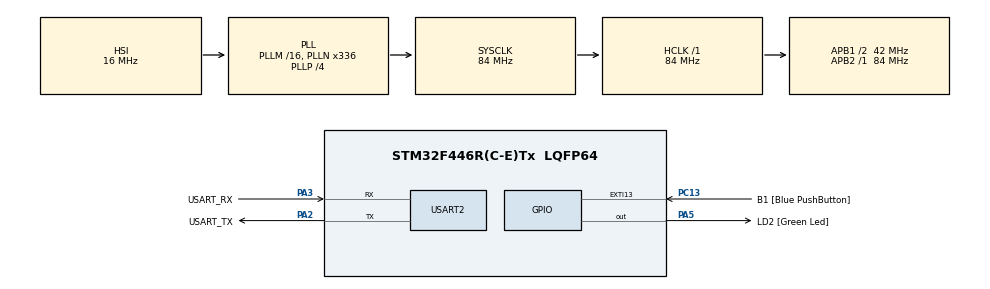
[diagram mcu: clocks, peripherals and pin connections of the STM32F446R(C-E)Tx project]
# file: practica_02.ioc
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Mcu.Family=STM32F4
Mcu.Name=STM32F446R(C-E)Tx
Mcu.Package=LQFP64
NVIC.PriorityGroup=NVIC_PRIORITYGROUP_0
PA13.GPIO_Label=TMS
PA13.Mode=Serial_Wire
PA13.Signal=SYS_JTMS-SWDIO
PA14.GPIO_Label=TCK
PA14.Mode=Serial_Wire
PA14.Signal=SYS_JTCK-SWCLK
PA2.GPIO_Label=USART_TX
PA2.Mode=Asynchronous
PA2.Signal=USART2_TX
PA3.GPIO_Label=USART_RX
PA3.Mode=Asynchronous
PA3.Signal=USART2_RX
PA5.GPIO_Label=LD2 [Green Led]
PA5.Signal=GPIO_Output
PB3.GPIO_Label=SWO
PB3.Signal=SYS_JTDO-SWO
PC13.GPIO_Label=B1 [Blue PushButton]
PC13.GPIO_ModeDefaultEXTI=GPIO_MODE_IT_FALLING
PC13.Signal=GPXTI13
PC14-OSC32_IN.Mode=LSE-External-Oscillator
PC14-OSC32_IN.Signal=RCC_OSC32_IN
PC15-OSC32_OUT.Mode=LSE-External-Oscillator
PC15-OSC32_OUT.Signal=RCC_OSC32_OUT
PH0-OSC_IN.Mode=HSE-External-Oscillator
PH0-OSC_IN.Signal=RCC_OSC_IN
PH1-OSC_OUT.Mode=HSE-External-Oscillator
PH1-OSC_OUT.Signal=RCC_OSC_OUT
ProjectManager.HeapSize=0x200
ProjectManager.StackSize=0x400
ProjectManager.TargetToolchain=STM32CubeIDE
RCC.48MHZClocksFreq_Value=84000000
RCC.AHBFreq_Value=84000000
RCC.APB1CLKDivider=RCC_HCLK_DIV2
RCC.APB1Freq_Value=42000000
RCC.APB1TimFreq_Value=84000000
RCC.APB2Freq_Value=84000000
RCC.APB2TimFreq_Value=84000000
RCC.CortexFreq_Value=84000000
RCC.FLatency-AdvancedSettings=FLASH_LATENCY_2
RCC.HCLKFreq_Value=84000000
RCC.HSE_VALUE=8000000
RCC.HSI_VALUE=16000000
RCC.PLLN=336
RCC.PLLP=RCC_PLLP_DIV4
RCC.SYSCLKFreq_VALUE=84000000
RCC.SYSCLKSource=RCC_SYSCLKSOURCE_PLLCLK
RCC.USBFreq_Value=168000000
RCC.VCOOutputFreq_Value=336000000
USART2.VirtualMode=VM_ASYNC
board=NUCLEO-F446RE

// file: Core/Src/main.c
/* USER CODE BEGIN Header */
/**
  ******************************************************************************
  * @file           : main.c
  * @brief          : Main program body
  ******************************************************************************
  * @attention
  *
  * Copyright (c) 2025 STMicroelectronics.
  * All rights reserved.
  *
  * This software is licensed under terms that can be found in the LICENSE file
  * in the root directory of this software component.
  * If no LICENSE file comes with this software, it is provided AS-IS.
  *
  ******************************************************************************
  */
/* USER CODE END Header */
#include "main.h"

UART_HandleTypeDef huart2;

void SystemClock_Config(void);
static void MX_GPIO_Init(void);
static void MX_USART2_UART_Init(void);

int main(void)
{

  /* MCU Configuration--------------------------------------------------------*/

  /* Reset of all peripherals, Initializes the Flash interface and the Systick. */
  HAL_Init();

  /* Configure the system clock */
  SystemClock_Config();

  /* Initialize all configured peripherals */
  MX_GPIO_Init();
  MX_USART2_UART_Init();
  /* USER CODE BEGIN 2 */
  const tick_t blink_patterns[PATTERN_STEPS] = {1000, 200, 100};
  delay_t led_delay;
  uint8_t pattern_index = 0;
  uint8_t repetition_count = 0;
  bool led_state = false;

//  delayInit(&led_delay, blink_patterns[pattern_index] / 2);
  delayInit(&led_delay, LED_TOGGLE_DELAY_MS);
  /* USER CODE END 2 */

  /* Infinite loop */
  while (1)
  {
//      if (delayRead(&led_delay)) {
//          HAL_GPIO_TogglePin(LD2_GPIO_Port, LD2_Pin);
//          led_state = !led_state;
//
//          if (!led_state) {
//        	  repetition_count++;
//
//              if (repetition_count >= REPETITIONS_PER_STEP) {
//            	  repetition_count = 0;
//            	  pattern_index++;
//
//                  if (pattern_index >= PATTERN_STEPS) {
//                	  pattern_index = 0;
//                  }
//              }
//          }
//          delayWrite(&led_delay, blink_patterns[pattern_index] / 2);
//      }

	  if(delayRead(&led_delay))
	  {
		  HAL_GPIO_TogglePin(LD2_GPIO_Port, LD2_Pin);
		  delayWrite(&led_delay, LED_TOGGLE_DELAY_MS);
	  }
  }
}

void SystemClock_Config(void)
{
  RCC_OscInitTypeDef RCC_OscInitStruct = {0};
  RCC_ClkInitTypeDef RCC_ClkInitStruct = {0};

  /** Configure the main internal regulator output voltage
  */
  __HAL_RCC_PWR_CLK_ENABLE();
  __HAL_PWR_VOLTAGESCALING_CONFIG(PWR_REGULATOR_VOLTAGE_SCALE3);

  /** Initializes the RCC Oscillators according to the specified parameters
  * in the RCC_OscInitTypeDef structure.
  */
  RCC_OscInitStruct.OscillatorType = RCC_OSCILLATORTYPE_HSI;
  RCC_OscInitStruct.HSIState = RCC_HSI_ON;
  RCC_OscInitStruct.HSICalibrationValue = RCC_HSICALIBRATION_DEFAULT;
  RCC_OscInitStruct.PLL.PLLState = RCC_PLL_ON;
  RCC_OscInitStruct.PLL.PLLSource = RCC_PLLSOURCE_HSI;
  RCC_OscInitStruct.PLL.PLLM = 16;
  RCC_OscInitStruct.PLL.PLLN = 336;
  RCC_OscInitStruct.PLL.PLLP = RCC_PLLP_DIV4;
  RCC_OscInitStruct.PLL.PLLQ = 2;
  RCC_OscInitStruct.PLL.PLLR = 2;
  if (HAL_RCC_OscConfig(&RCC_OscInitStruct) != HAL_OK)
  {
    Error_Handler();
  }

  /** Initializes the CPU, AHB and APB buses clocks
  */
  RCC_ClkInitStruct.ClockType = RCC_CLOCKTYPE_HCLK|RCC_CLOCKTYPE_SYSCLK
                              |RCC_CLOCKTYPE_PCLK1|RCC_CLOCKTYPE_PCLK2;
  RCC_ClkInitStruct.SYSCLKSource = RCC_SYSCLKSOURCE_PLLCLK;
  RCC_ClkInitStruct.AHBCLKDivider = RCC_SYSCLK_DIV1;
  RCC_ClkInitStruct.APB1CLKDivider = RCC_HCLK_DIV2;
  RCC_ClkInitStruct.APB2CLKDivider = RCC_HCLK_DIV1;

  if (HAL_RCC_ClockConfig(&RCC_ClkInitStruct, FLASH_LATENCY_2) != HAL_OK)
  {
    Error_Handler();
  }
}

static void MX_USART2_UART_Init(void)
{

  huart2.Instance = USART2;
  huart2.Init.BaudRate = 115200;
  huart2.Init.WordLength = UART_WORDLENGTH_8B;
  huart2.Init.StopBits = UART_STOPBITS_1;
  huart2.Init.Parity = UART_PARITY_NONE;
  huart2.Init.Mode = UART_MODE_TX_RX;
  huart2.Init.HwFlowCtl = UART_HWCONTROL_NONE;
  huart2.Init.OverSampling = UART_OVERSAMPLING_16;
  if (HAL_UART_Init(&huart2) != HAL_OK)
  {
    Error_Handler();
  }

}

static void MX_GPIO_Init(void)
{
  GPIO_InitTypeDef GPIO_InitStruct = {0};

  /* GPIO Ports Clock Enable */
  __HAL_RCC_GPIOC_CLK_ENABLE();
  __HAL_RCC_GPIOH_CLK_ENABLE();
  __HAL_RCC_GPIOA_CLK_ENABLE();
  __HAL_RCC_GPIOB_CLK_ENABLE();

  /*Configure GPIO pin Output Level */
  HAL_GPIO_WritePin(LD2_GPIO_Port, LD2_Pin, GPIO_PIN_RESET);

  /*Configure GPIO pin : B1_Pin */
  GPIO_InitStruct.Pin = B1_Pin;
  GPIO_InitStruct.Mode = GPIO_MODE_IT_FALLING;
  GPIO_InitStruct.Pull = GPIO_NOPULL;
  HAL_GPIO_Init(B1_GPIO_Port, &GPIO_InitStruct);

  /*Configure GPIO pin : LD2_Pin */
  GPIO_InitStruct.Pin = LD2_Pin;
  GPIO_InitStruct.Mode = GPIO_MODE_OUTPUT_PP;
  GPIO_InitStruct.Pull = GPIO_NOPULL;
  GPIO_InitStruct.Speed = GPIO_SPEED_FREQ_LOW;
  HAL_GPIO_Init(LD2_GPIO_Port, &GPIO_InitStruct);

}

/* USER CODE BEGIN 4 */

/**
  * @brief Inicializa la estructua de retardo con la duración incial especificada
  * @param delay_t puntero a la estructura delay_t
  * @param duration Duración del retardo en milisegundos
  * @retval None
  */

void delayInit( delay_t * delay, tick_t duration ){

	if(delay != NULL && duration > 0 )
	{
		delay->duration = duration;
		delay->running = false;
	}
}

/**
  * @brief Lee el estado del retardo (running) y verficia si el tiempo se ha cumplido
  * @param delay_t puntero a la estructura delay_t
  * @retval true si el retardo ha finalizado, false caso contrario
  */

bool_t delayRead( delay_t * delay ){

	if(delay == NULL) return false;

	if(!delay->running)
	{
		delay->startTime = HAL_GetTick();
		delay->running = true;
	}

	if((HAL_GetTick() - delay->startTime) >= delay->duration)
	{
		delay->running = false;
		return true;
	}

	return false;
}

/**
 * @brief Modifica la duración de un retardo existente
 * @param delay puntero a la estructura delay_t
 * @param duration nueva duración del retardo en milisegundos
 * @retval None
 */

void delayWrite( delay_t * delay, tick_t duration ){
	if(delay != NULL && duration > 0)
	{
		delay->duration = duration;
	}
}

/* USER CODE END 4 */

void Error_Handler(void)
{
  __disable_irq();
  while (1)
  {
  }
}
